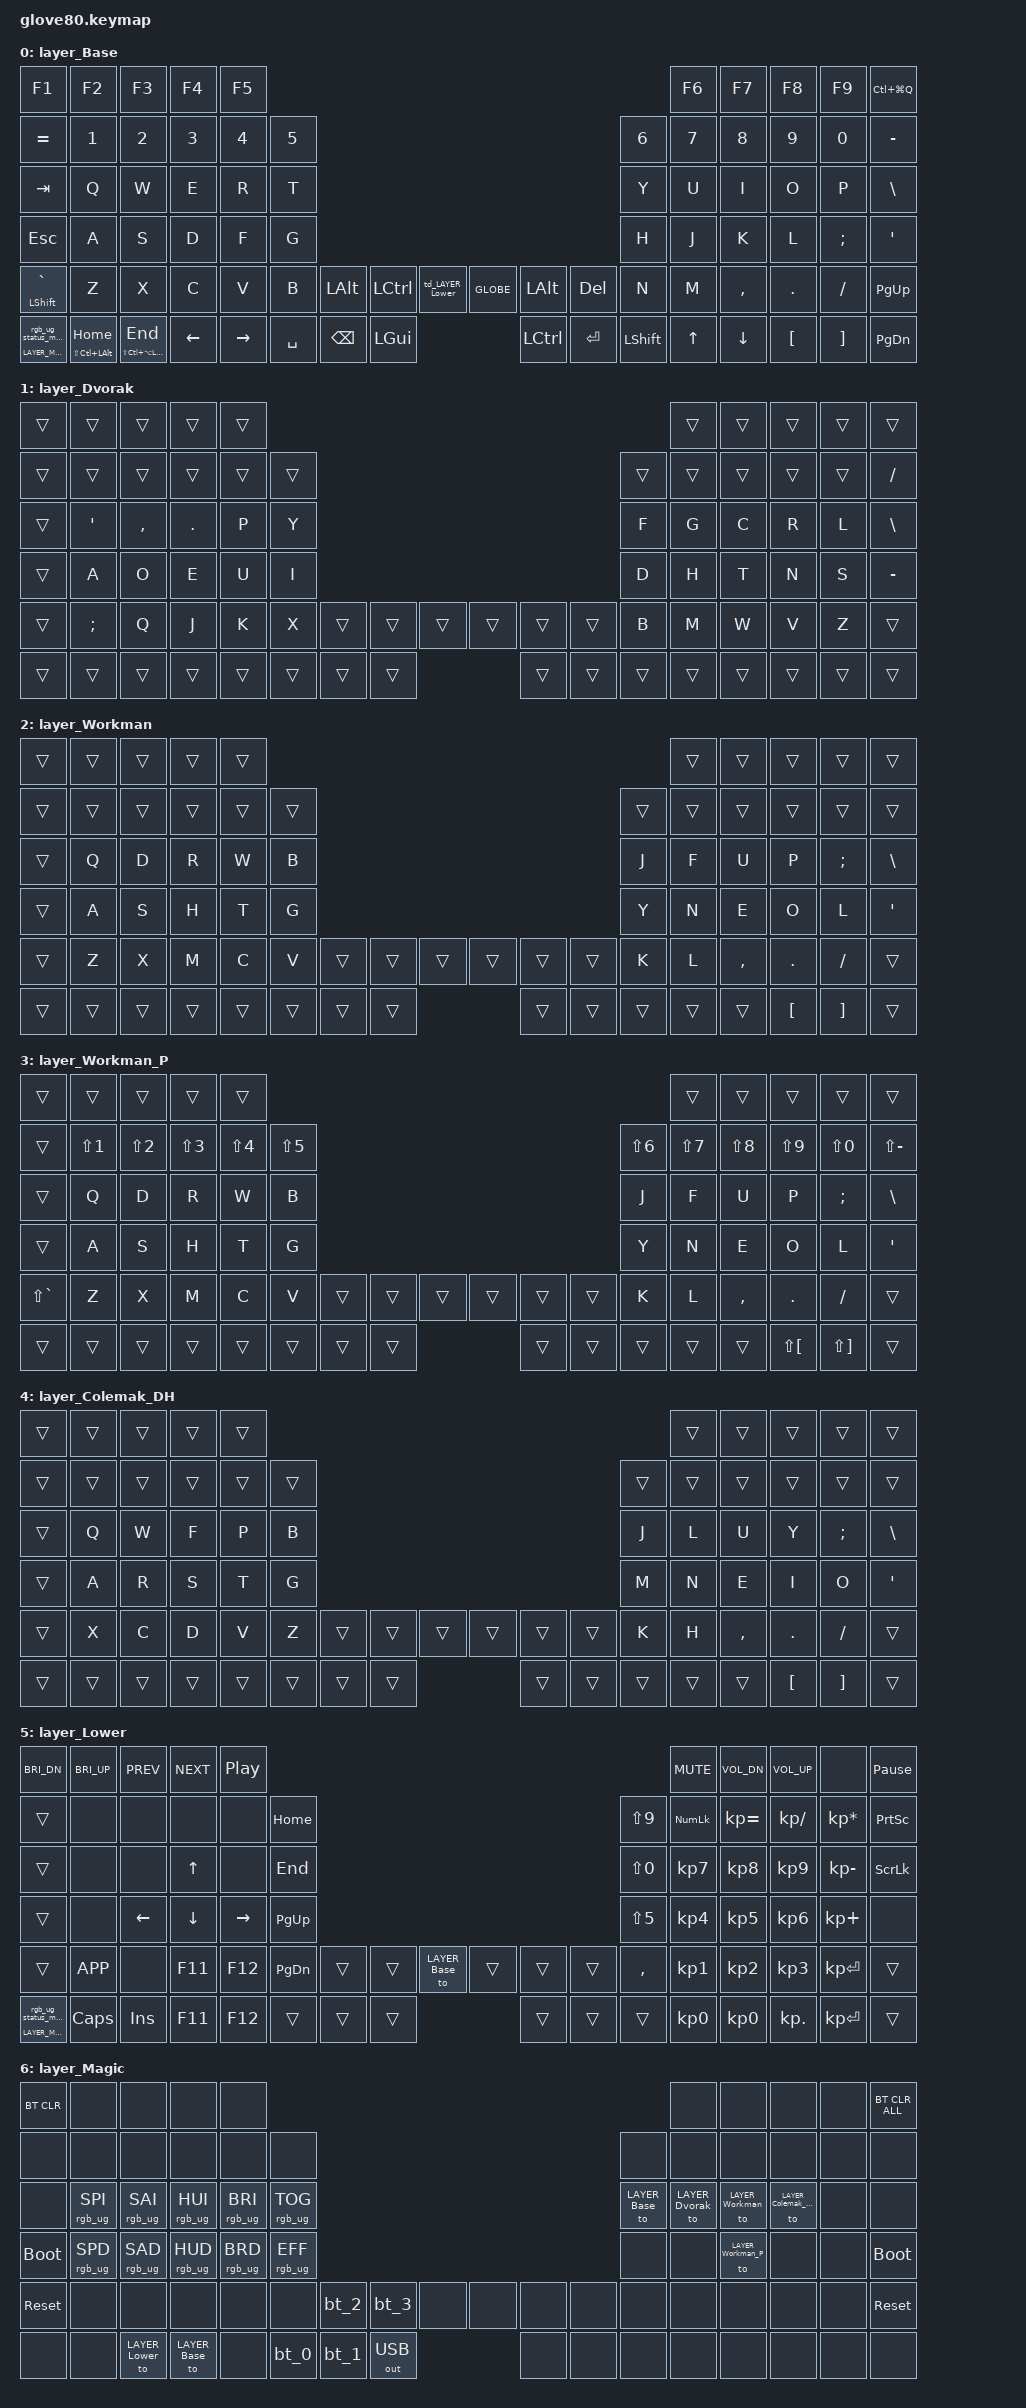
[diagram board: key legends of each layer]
/*
 * Copyright (c) 2020 The ZMK Contributors
 * Copyright (c) 2025 Innaworks Development Limited, trading as MoErgo
 *
 * SPDX-License-Identifier: MIT
 */


/* THIS FILE WAS GENERATED BY GLOVE80 LAYOUT EDITOR
 *
 * This file was generated automatically. You may or may not want to
 * edit it directly.
 */

#include <behaviors.dtsi>
/* Include all behavior includes needed */
#include <dt-bindings/zmk/outputs.h>
#include <dt-bindings/zmk/keys.h>
#include <dt-bindings/zmk/bt.h>
#include <dt-bindings/zmk/rgb.h>

/* On demand includes */


/* Helper Macros, based on https://github.com/urob/zmk-helpers/ */

#pragma once

#define ZMK_HELPER_STRINGIFY(x) #x

// Preprocessor mechanism to overload macros, cf. https://stackoverflow.com/a/27051616/6114651
#define VARGS_(_10, _9, _8, _7, _6, _5, _4, _3, _2, _1, N, ...) N
#define VARGS(...) VARGS_(__VA_ARGS__, 10, 9, 8, 7, 6, 5, 4, 3, 2, 1, 0)
#define CONCAT_(a, b) a##b
#define CONCAT(a, b) CONCAT_(a, b)

#define ZMK_BEHAVIOR_CORE_tap_dance  \
    compatible = "zmk,behavior-tap-dance"; \
    #binding-cells = <0>

#define ZMK_BEHAVIOR(name, type, ...) \
    name: name { \
        ZMK_BEHAVIOR_CORE_ ## type; \
        __VA_ARGS__ \
    };

#define ZMK_TAP_DANCE(name, ...) \
    ZMK_BEHAVIOR(name, tap_dance, __VA_ARGS__)

#define ZMK_TD_LAYER(name, layer) \
    ZMK_TAP_DANCE(name, \
        tapping-term-ms = <200>; \
        bindings = <&mo layer>, <&to layer>; \
)

/* Environment and metadata defines */
#define KB_TYPE_GLOVE_80 1
#define KB_TYPE_GO_60    2

#define KB_TYPE          KB_TYPE_GLOVE_80
#define EDITOR_HOST_OS   'M'

/* Automatically generated layer name defines */
#define LAYER_Base 0
#define LAYER_Dvorak 1
#define LAYER_Workman 2
#define LAYER_Workman_P 3
#define LAYER_Colemak_DH 4
#define LAYER_Lower 5
#define LAYER_Magic 6

/* To deal with the situation where there is no Lower layer, to keep &lower happy */
#ifndef LAYER_Lower
#define LAYER_Lower 0
#endif

/* Custom Device-tree */


/* Input Listeners */


/* System behavior and Macros */
/ {
    behaviors {
        ZMK_TD_LAYER(lower, LAYER_Lower)
    };
};

/ {
    macros {
        rgb_ug_status_macro: rgb_ug_status_macro {
            label = "RGB_UG_STATUS";
            compatible = "zmk,behavior-macro";
            #binding-cells = <0>;
            bindings
                = <&rgb_ug RGB_STATUS>;
        };
    };
};


/ {
#ifdef BT_DISC_CMD
    behaviors {
        bt_0: bt_0 {
            compatible = "zmk,behavior-tap-dance";
            label = "BT_0";
            #binding-cells = <0>;
            tapping-term-ms = <200>;
            bindings = <&bt_select_0>, <&bt BT_DISC 0>;
        };
        bt_1: bt_1 {
            compatible = "zmk,behavior-tap-dance";
            label = "BT_1";
            #binding-cells = <0>;
            tapping-term-ms = <200>;
            bindings = <&bt_select_1>, <&bt BT_DISC 1>;
        };
        bt_2: bt_2 {
            compatible = "zmk,behavior-tap-dance";
            label = "BT_2";
            #binding-cells = <0>;
            tapping-term-ms = <200>;
            bindings = <&bt_select_2>, <&bt BT_DISC 2>;
        };
        bt_3: bt_3 {
            compatible = "zmk,behavior-tap-dance";
            label = "BT_3";
            #binding-cells = <0>;
            tapping-term-ms = <200>;
            bindings = <&bt_select_3>, <&bt BT_DISC 3>;
        };
    };
    macros {
        bt_select_0: bt_select_0 {
            label = "BT_SELECT_0";
            compatible = "zmk,behavior-macro";
            #binding-cells = <0>;
            bindings
                = <&out OUT_BLE>,
                  <&bt BT_SEL 0>;
        };
        bt_select_1: bt_select_1 {
            label = "BT_SELECT_1";
            compatible = "zmk,behavior-macro";
            #binding-cells = <0>;
            bindings
                = <&out OUT_BLE>,
                  <&bt BT_SEL 1>;
        };
        bt_select_2: bt_select_2 {
            label = "BT_SELECT_2";
            compatible = "zmk,behavior-macro";
            #binding-cells = <0>;
            bindings
                = <&out OUT_BLE>,
                  <&bt BT_SEL 2>;
        };
        bt_select_3: bt_select_3 {
            label = "BT_SELECT_3";
            compatible = "zmk,behavior-macro";
            #binding-cells = <0>;
            bindings
                = <&out OUT_BLE>,
                  <&bt BT_SEL 3>;
        };
    };
#else
    macros {
        bt_0: bt_0 {
            label = "BT_0";
            compatible = "zmk,behavior-macro";
            #binding-cells = <0>;
            bindings
                = <&out OUT_BLE>,
                  <&bt BT_SEL 0>;
        };
        bt_1: bt_1 {
            label = "BT_1";
            compatible = "zmk,behavior-macro";
            #binding-cells = <0>;
            bindings
                = <&out OUT_BLE>,
                  <&bt BT_SEL 1>;
        };
        bt_2: bt_2 {
            label = "BT_2";
            compatible = "zmk,behavior-macro";
            #binding-cells = <0>;
            bindings
                = <&out OUT_BLE>,
                  <&bt BT_SEL 2>;
        };
        bt_3: bt_3 {
            label = "BT_3";
            compatible = "zmk,behavior-macro";
            #binding-cells = <0>;
            bindings
                = <&out OUT_BLE>,
                  <&bt BT_SEL 3>;
        };
    };
#endif
};

/ {
    behaviors {
        magic: magic {
            compatible = "zmk,behavior-hold-tap";
            label = "MAGIC_HOLD_TAP";
            #binding-cells = <2>;
            flavor = "tap-preferred";
            tapping-term-ms = <200>;
            bindings = <&mo>, <&rgb_ug_status_macro>;
        };
    };
};


/* Key positions */

#define POS_LH_C6R1 0
#define POS_LH_C5R1 1
#define POS_LH_C4R1 2
#define POS_LH_C3R1 3
#define POS_LH_C2R1 4
#define POS_RH_C2R1 5
#define POS_RH_C3R1 6
#define POS_RH_C4R1 7
#define POS_RH_C5R1 8
#define POS_RH_C6R1 9
#define POS_LH_C6R2 10
#define POS_LH_C5R2 11
#define POS_LH_C4R2 12
#define POS_LH_C3R2 13
#define POS_LH_C2R2 14
#define POS_LH_C1R2 15
#define POS_RH_C1R2 16
#define POS_RH_C2R2 17
#define POS_RH_C3R2 18
#define POS_RH_C4R2 19
#define POS_RH_C5R2 20
#define POS_RH_C6R2 21
#define POS_LH_C6R3 22
#define POS_LH_C5R3 23
#define POS_LH_C4R3 24
#define POS_LH_C3R3 25
#define POS_LH_C2R3 26
#define POS_LH_C1R3 27
#define POS_RH_C1R3 28
#define POS_RH_C2R3 29
#define POS_RH_C3R3 30
#define POS_RH_C4R3 31
#define POS_RH_C5R3 32
#define POS_RH_C6R3 33
#define POS_LH_C6R4 34
#define POS_LH_C5R4 35
#define POS_LH_C4R4 36
#define POS_LH_C3R4 37
#define POS_LH_C2R4 38
#define POS_LH_C1R4 39
#define POS_RH_C1R4 40
#define POS_RH_C2R4 41
#define POS_RH_C3R4 42
#define POS_RH_C4R4 43
#define POS_RH_C5R4 44
#define POS_RH_C6R4 45
#define POS_LH_C6R5 46
#define POS_LH_C5R5 47
#define POS_LH_C4R5 48
#define POS_LH_C3R5 49
#define POS_LH_C2R5 50
#define POS_LH_C1R5 51
#define POS_LH_T1 52
#define POS_LH_T2 53
#define POS_LH_T3 54
#define POS_RH_T3 55
#define POS_RH_T2 56
#define POS_RH_T1 57
#define POS_RH_C1R5 58
#define POS_RH_C2R5 59
#define POS_RH_C3R5 60
#define POS_RH_C4R5 61
#define POS_RH_C5R5 62
#define POS_RH_C6R5 63
#define POS_LH_C6R6 64
#define POS_LH_C5R6 65
#define POS_LH_C4R6 66
#define POS_LH_C3R6 67
#define POS_LH_C2R6 68
#define POS_LH_T4 69
#define POS_LH_T5 70
#define POS_LH_T6 71
#define POS_RH_T6 72
#define POS_RH_T5 73
#define POS_RH_T4 74
#define POS_RH_C2R6 75
#define POS_RH_C3R6 76
#define POS_RH_C4R6 77
#define POS_RH_C5R6 78
#define POS_RH_C6R6 79


/* Custom Defined Behaviors */
/ {

};

/* Generated input processors */


/* Automatically generated macro definitions */
/ {
    macros {

    };
};

/* Automatically generated behavior definitions */
/ {
    behaviors {

        // Layer tap dance behaviors

        ZMK_TD_LAYER(td_LAYER_Lower, 5)

    };
};

/* Automatically generated combos definitions */
/ {
    combos {
        compatible = "zmk,combos";

        combo_Esc {
            key-positions = <POS_LH_C3R4 POS_LH_C4R4>;
            bindings = <&kp ESC>;
        };

        combo_Capsword {
            key-positions = <POS_LH_C1R4 POS_RH_C1R4>;
            bindings = <&caps_word>;
        };
    };
};

/* Automatically generated keymap */
/ {
    keymap {
        compatible = "zmk,keymap";


        layer_Base {
            bindings = <
               &kp F1                 &kp F2                    &kp F3    &kp F4     &kp F5                                                                                         &kp F6     &kp F7    &kp F8    &kp F9  &kp LC(LG(Q))
            &kp EQUAL                 &kp N1                    &kp N2    &kp N3     &kp N4  &kp N5                                                                         &kp N6  &kp N7     &kp N8    &kp N9    &kp N0      &kp MINUS
              &kp TAB                  &kp Q                     &kp W     &kp E      &kp R   &kp T                                                                          &kp Y   &kp U      &kp I     &kp O     &kp P       &kp BSLH
              &kp ESC                  &kp A                     &kp S     &kp D      &kp F   &kp G                                                                          &kp H   &kp J      &kp K     &kp L  &kp SEMI        &kp SQT
      &mt LSHFT GRAVE                  &kp Z                     &kp X     &kp C      &kp V   &kp B   &kp LALT  &kp LCTRL  &td_LAYER_Lower  &kp GLOBE  &kp LALT    &kp DEL   &kp N   &kp M  &kp COMMA   &kp DOT  &kp FSLH      &kp PG_UP
 &magic LAYER_Magic 0  &mt LS(LC(LALT)) HOME  &mt LS(LC(LA(LGUI))) END  &kp LEFT  &kp RIGHT          &kp SPACE   &kp BSPC         &kp LGUI  &kp LCTRL   &kp RET  &kp LSHFT          &kp UP   &kp DOWN  &kp LBKT  &kp RBKT      &kp PG_DN
            >;
        };

        layer_Dvorak {
            bindings = <
 &trans    &trans     &trans   &trans  &trans                                                                  &trans  &trans  &trans  &trans     &trans
 &trans    &trans     &trans   &trans  &trans  &trans                                                  &trans  &trans  &trans  &trans  &trans   &kp FSLH
 &trans   &kp SQT  &kp COMMA  &kp DOT   &kp P   &kp Y                                                   &kp F   &kp G   &kp C   &kp R   &kp L   &kp BSLH
 &trans     &kp A      &kp O    &kp E   &kp U   &kp I                                                   &kp D   &kp H   &kp T   &kp N   &kp S  &kp MINUS
 &trans  &kp SEMI      &kp Q    &kp J   &kp K   &kp X  &trans  &trans  &trans  &trans  &trans  &trans   &kp B   &kp M   &kp W   &kp V   &kp Z     &trans
 &trans    &trans     &trans   &trans  &trans          &trans  &trans  &trans  &trans  &trans  &trans          &trans  &trans  &trans  &trans     &trans
            >;
        };

        layer_Workman {
            bindings = <
 &trans  &trans  &trans  &trans  &trans                                                                  &trans     &trans    &trans    &trans    &trans
 &trans  &trans  &trans  &trans  &trans  &trans                                                  &trans  &trans     &trans    &trans    &trans    &trans
 &trans   &kp Q   &kp D   &kp R   &kp W   &kp B                                                   &kp J   &kp F      &kp U     &kp P  &kp SEMI  &kp BSLH
 &trans   &kp A   &kp S   &kp H   &kp T   &kp G                                                   &kp Y   &kp N      &kp E     &kp O     &kp L   &kp SQT
 &trans   &kp Z   &kp X   &kp M   &kp C   &kp V  &trans  &trans  &trans  &trans  &trans  &trans   &kp K   &kp L  &kp COMMA   &kp DOT  &kp FSLH    &trans
 &trans  &trans  &trans  &trans  &trans          &trans  &trans  &trans  &trans  &trans  &trans          &trans     &trans  &kp LBKT  &kp RBKT    &trans
            >;
        };

        layer_Workman_P {
            bindings = <
        &trans      &trans      &trans      &trans      &trans                                                                              &trans      &trans        &trans        &trans         &trans
        &trans  &kp LS(N1)  &kp LS(N2)  &kp LS(N3)  &kp LS(N4)  &kp LS(N5)                                                  &kp LS(N6)  &kp LS(N7)  &kp LS(N8)    &kp LS(N9)    &kp LS(N0)  &kp LS(MINUS)
        &trans       &kp Q       &kp D       &kp R       &kp W       &kp B                                                       &kp J       &kp F       &kp U         &kp P      &kp SEMI       &kp BSLH
        &trans       &kp A       &kp S       &kp H       &kp T       &kp G                                                       &kp Y       &kp N       &kp E         &kp O         &kp L        &kp SQT
 &kp LS(GRAVE)       &kp Z       &kp X       &kp M       &kp C       &kp V  &trans  &trans  &trans  &trans  &trans  &trans       &kp K       &kp L   &kp COMMA       &kp DOT      &kp FSLH         &trans
        &trans      &trans      &trans      &trans      &trans              &trans  &trans  &trans  &trans  &trans  &trans                  &trans      &trans  &kp LS(LBKT)  &kp LS(RBKT)         &trans
            >;
        };

        layer_Colemak_DH {
            bindings = <
 &trans  &trans  &trans  &trans  &trans                                                                  &trans     &trans    &trans    &trans    &trans
 &trans  &trans  &trans  &trans  &trans  &trans                                                  &trans  &trans     &trans    &trans    &trans    &trans
 &trans   &kp Q   &kp W   &kp F   &kp P   &kp B                                                   &kp J   &kp L      &kp U     &kp Y  &kp SEMI  &kp BSLH
 &trans   &kp A   &kp R   &kp S   &kp T   &kp G                                                   &kp M   &kp N      &kp E     &kp I     &kp O   &kp SQT
 &trans   &kp X   &kp C   &kp D   &kp V   &kp Z  &trans  &trans  &trans  &trans  &trans  &trans   &kp K   &kp H  &kp COMMA   &kp DOT  &kp FSLH    &trans
 &trans  &trans  &trans  &trans  &trans          &trans  &trans  &trans  &trans  &trans  &trans          &trans     &trans  &kp LBKT  &kp RBKT    &trans
            >;
        };

        layer_Lower {
            bindings = <
         &kp C_BRI_DN  &kp C_BRI_UP      &kp C_PREV      &kp C_NEXT         &kp C_PP                                                                                 &kp C_MUTE  &kp C_VOL_DN  &kp C_VOL_UP            &none  &kp PAUSE_BREAK
               &trans         &none           &none           &none            &none   &kp HOME                                                          &kp LS(N9)  &kp KP_NUM  &kp KP_EQUAL  &kp KP_SLASH  &kp KP_MULTIPLY  &kp PRINTSCREEN
               &trans         &none           &none    &kp UP_ARROW            &none    &kp END                                                          &kp LS(N0)   &kp KP_N7     &kp KP_N8     &kp KP_N9     &kp KP_MINUS   &kp SCROLLLOCK
               &trans         &none  &kp LEFT_ARROW  &kp DOWN_ARROW  &kp RIGHT_ARROW  &kp PG_UP                                                          &kp LS(N5)   &kp KP_N4     &kp KP_N5     &kp KP_N6      &kp KP_PLUS            &none
               &trans     &kp K_APP           &none         &kp F11          &kp F12  &kp PG_DN  &trans  &trans  &to LAYER_Base  &trans  &trans  &trans   &kp COMMA   &kp KP_N1     &kp KP_N2     &kp KP_N3     &kp KP_ENTER           &trans
 &magic LAYER_Magic 0      &kp CAPS         &kp INS         &kp F11          &kp F12             &trans  &trans          &trans  &trans  &trans  &trans               &kp KP_N0     &kp KP_N0    &kp KP_DOT     &kp KP_ENTER           &trans
            >;
        };

        layer_Magic {
            bindings = <
  &bt BT_CLR            &none            &none            &none            &none                                                                                                    &none                &none                 &none   &none  &bt BT_CLR_ALL
       &none            &none            &none            &none            &none            &none                                                                 &none             &none                &none                 &none   &none           &none
       &none  &rgb_ug RGB_SPI  &rgb_ug RGB_SAI  &rgb_ug RGB_HUI  &rgb_ug RGB_BRI  &rgb_ug RGB_TOG                                                        &to LAYER_Base  &to LAYER_Dvorak    &to LAYER_Workman  &to LAYER_Colemak_DH   &none           &none
 &bootloader  &rgb_ug RGB_SPD  &rgb_ug RGB_SAD  &rgb_ug RGB_HUD  &rgb_ug RGB_BRD  &rgb_ug RGB_EFF                                                                 &none             &none  &to LAYER_Workman_P                 &none   &none     &bootloader
  &sys_reset            &none            &none            &none            &none            &none   &bt_2   &bt_3         &none   &none   &none   &none           &none             &none                &none                 &none   &none      &sys_reset
       &none            &none  &to LAYER_Lower   &to LAYER_Base            &none                    &bt_0   &bt_1  &out OUT_USB   &none   &none   &none                             &none                &none                 &none   &none           &none
            >;
        };

    };
};
